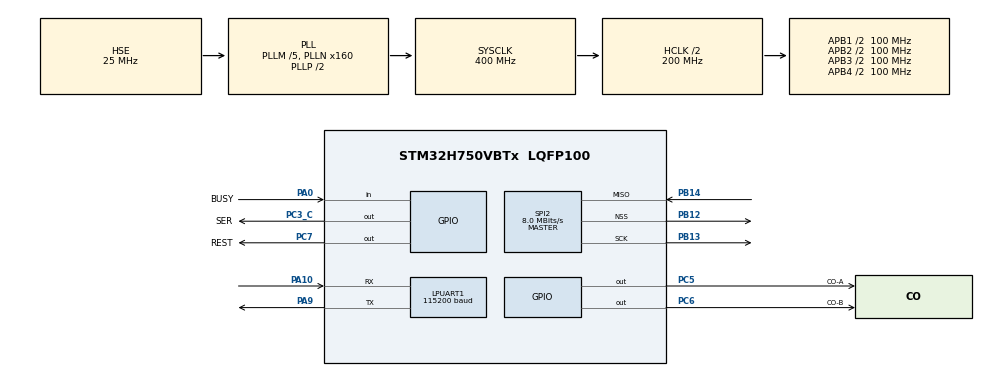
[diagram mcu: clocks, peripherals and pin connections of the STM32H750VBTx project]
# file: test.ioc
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LPUART1.BaudRate=115200
Mcu.Family=STM32H7
Mcu.Name=STM32H750VBTx
Mcu.Package=LQFP100
NVIC.LPUART1_IRQn=true\:3\:3\:true\:false\:true\:true\:true
NVIC.PriorityGroup=NVIC_PRIORITYGROUP_2
PA0.GPIO_Label=BUSY
PA0.GPIO_PuPd=GPIO_PULLUP
PA0.Signal=GPIO_Input
PA10.Mode=Asynchronous
PA10.Signal=LPUART1_RX
PA9.Mode=Asynchronous
PA9.Signal=LPUART1_TX
PB12.Mode=NSS_Signal_Hard_Output
PB12.Signal=SPI2_NSS
PB13.Mode=RX_Only_Simplex_Unidirect_Master
PB13.Signal=SPI2_SCK
PB14.Mode=RX_Only_Simplex_Unidirect_Master
PB14.Signal=SPI2_MISO
PC3_C.GPIO_Label=SER
PC3_C.GPIO_PuPd=GPIO_PULLUP
PC3_C.Signal=GPIO_Output
PC5.GPIO_Label=CO-A
PC5.GPIO_PuPd=GPIO_PULLUP
PC5.Signal=GPIO_Output
PC6.GPIO_Label=CO-B
PC6.GPIO_PuPd=GPIO_PULLUP
PC6.Signal=GPIO_Output
PC7.GPIO_Label=REST
PC7.GPIO_PuPd=GPIO_PULLUP
PC7.Signal=GPIO_Output
PH0-OSC_IN\ (PH0).Mode=HSE-External-Oscillator
PH0-OSC_IN\ (PH0).Signal=RCC_OSC_IN
PH1-OSC_OUT\ (PH1).Mode=HSE-External-Oscillator
PH1-OSC_OUT\ (PH1).Signal=RCC_OSC_OUT
ProjectManager.HeapSize=0x200
ProjectManager.StackSize=0x400
ProjectManager.TargetToolchain=STM32CubeIDE
RCC.ADCFreq_Value=50390625
RCC.APB1Freq_Value=100000000
RCC.APB2Freq_Value=100000000
RCC.APB3Freq_Value=100000000
RCC.APB4Freq_Value=100000000
RCC.CortexFreq_Value=400000000
RCC.D1PPRE=RCC_APB3_DIV2
RCC.D2PPRE1=RCC_APB1_DIV2
RCC.D2PPRE2=RCC_APB2_DIV2
RCC.D3PPRE=RCC_APB4_DIV2
RCC.DIVM1=5
RCC.DIVN1=160
RCC.HCLKFreq_Value=200000000
RCC.HPRE=RCC_HCLK_DIV2
RCC.PLLSourceVirtual=RCC_PLLSOURCE_HSE
RCC.SPI123CLockSelection=RCC_SPI123CLKSOURCE_CLKP
RCC.SYSCLKFreq_VALUE=400000000
RCC.SYSCLKSource=RCC_SYSCLKSOURCE_PLLCLK
RCC.USBFreq_Value=400000000
SPI2.BaudRatePrescaler=SPI_BAUDRATEPRESCALER_8
SPI2.CalculateBaudRate=8.0 MBits/s
SPI2.DataSize=SPI_DATASIZE_16BIT
SPI2.Direction=SPI_DIRECTION_2LINES_RXONLY
SPI2.Mode=SPI_MODE_MASTER
SPI2.NSSPMode=SPI_NSS_PULSE_ENABLE
SPI2.VirtualNSS=VM_NSSHARD
SPI2.VirtualType=VM_MASTER
board=custom

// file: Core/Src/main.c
/* USER CODE BEGIN Header */
/**
  ******************************************************************************
  * @file           : main.c
  * @brief          : Main program body
  ******************************************************************************
  * @attention
  *
  * <h2><center>&copy; Copyright (c) 2021 STMicroelectronics.
  * All rights reserved.</center></h2>
  *
  * This software component is licensed by ST under BSD 3-Clause license,
  * the "License"; You may not use this file except in compliance with the
  * License. You may obtain a copy of the License at:
  *                        opensource.org/licenses/BSD-3-Clause
  *
  ******************************************************************************
  */
/* USER CODE END Header */
#include "main.h"

UART_HandleTypeDef hlpuart1;

SPI_HandleTypeDef hspi2;

void SystemClock_Config(void);
void PeriphCommonClock_Config(void);
static void MX_GPIO_Init(void);
static void MX_LPUART1_UART_Init(void);
static void MX_SPI2_Init(void);

/* USER CODE BEGIN 0 */
void AD7606_StartConvst(void)
{
	HAL_GPIO_WritePin(CO_A_GPIO_Port, CO_A_Pin, GPIO_PIN_RESET); //	CO_A_L;
	HAL_GPIO_WritePin(CO_B_GPIO_Port, CO_B_Pin, GPIO_PIN_RESET); //	CO_B_L;
	HAL_Delay(1);
//	for(int i = 20; i > 0; i--){
//		__NOP();//1000/168 ns = 5.85ns
//	}
	HAL_GPIO_WritePin(CO_A_GPIO_Port, CO_A_Pin, GPIO_PIN_SET); //	CO_A_H;
	HAL_GPIO_WritePin(CO_B_GPIO_Port, CO_B_Pin, GPIO_PIN_SET); //	CO_B_H;
	HAL_Delay(1);
//	for(int i = 20; i > 0; i--){
//		__NOP();//1000/168 ns = 5.85ns
//	}
}

void AD7606_RESET(void)
{
	HAL_GPIO_WritePin(REST_GPIO_Port, REST_Pin, GPIO_PIN_RESET); //REST_L;
	HAL_Delay(1);
//	for(int i = 20; i > 0; i--){
//		__NOP();//1000/168 ns = 5.85ns
//	}
	HAL_GPIO_WritePin(REST_GPIO_Port, REST_Pin, GPIO_PIN_SET); //REST_H;
	HAL_Delay(1);
//	for(int i = 20; i > 0; i--){
//		__NOP();//1000/168 ns = 5.85ns
//	}
	HAL_GPIO_WritePin(REST_GPIO_Port, REST_Pin, GPIO_PIN_RESET); //REST_L;
}

void AD7606_Init(void)
{
//	MX_SPI2_Init();
//	GPIO_AD7606_Configuration();
	HAL_GPIO_WritePin(CO_A_GPIO_Port, CO_A_Pin, GPIO_PIN_SET); //	CO_A_H;
	HAL_GPIO_WritePin(CO_B_GPIO_Port, CO_B_Pin, GPIO_PIN_SET); //	CO_B_H;
	HAL_Delay(1);
	HAL_GPIO_WritePin(SER_GPIO_Port, SER_Pin, GPIO_PIN_SET); //SER_H;

	AD7606_RESET();
	HAL_Delay(1);
	AD7606_StartConvst();
}

void AD7606_ReadData(int * DB_data)
{
	HAL_SPI_Receive(&hspi2, (uint8_t *)DB_data, 8, 1000);
}

/* USER CODE END 0 */

int main(void)
{
  /* USER CODE BEGIN 1 */
// uint8_t UART_BUF[12] = "you press A!";
 uint8_t dis_buf[40];
 int16_t DB_data[8] = {0};
 int16_t i;
 int16_t temp;
  /* USER CODE END 1 */

  /* MCU Configuration--------------------------------------------------------*/

  /* Reset of all peripherals, Initializes the Flash interface and the Systick. */
  HAL_Init();

  /* Configure the system clock */
  SystemClock_Config();

/* Configure the peripherals common clocks */
  PeriphCommonClock_Config();

  /* Initialize all configured peripherals */
  MX_GPIO_Init();
  MX_LPUART1_UART_Init();
  MX_SPI2_Init();
  /* USER CODE BEGIN 2 */
  AD7606_Init();
  /* USER CODE END 2 */

  /* Infinite loop */
  while (1)
  {

    /* USER CODE BEGIN 3 */
//	  HAL_GPIO_WritePin(LED_B_GPIO_Port, LED_B_Pin, GPIO_PIN_SET); // �øߣ�������
//	  HAL_Delay(500); // ��ʱ 500ms
//	  HAL_GPIO_WritePin(LED_B_GPIO_Port, LED_B_Pin, GPIO_PIN_RESET);// �õͣ�������
	  HAL_Delay(500); // ��ʱ 500ms

//	  HAL_UART_Transmit(&hlpuart1,UART_BUF,12,0xffff);
	  AD7606_StartConvst();
	  while((HAL_GPIO_ReadPin(GPIOA,BUSY_Pin) == GPIO_PIN_SET))	//
		  HAL_Delay(10);
	  AD7606_ReadData(DB_data);

//	  for(i=0;i<8;i++)
//	  {
//		sprintf((char*)dis_buf,"CH%1d:%8.1f mv  0x%04x %6d\r\n", i+1, (float)(DB_data[i]*10000.0/32768), (uint16_t)(DB_data[i]^0x8000), (uint16_t)(DB_data[i]^0x8000));
//		//printf("%s",dis_buf);
//	  }
//	  HAL_UART_Transmit(&hlpuart1,DB_data,16,0xffff);

//	  HAL_UART_Transmit(&hlpuart1,DB_data,16,0xffff);
//	  DB_data[i];
//	  temp =(uint16_t)(DB_data[3]^0x8000);
//	  HAL_UART_Transmit(&hlpuart1,temp >> 8,1,0xffff); //& 0xff
//	  HAL_UART_Transmit(&hlpuart1,temp & 0xff,1,0xffff);
//	  HAL_Delay(100);
	  HAL_UART_Transmit(&hlpuart1,'C',1,0xffff);
//	  printf("hell0 \r");
  }
  /* USER CODE END 3 */
}

void SystemClock_Config(void)
{
  RCC_OscInitTypeDef RCC_OscInitStruct = {0};
  RCC_ClkInitTypeDef RCC_ClkInitStruct = {0};

  /** Supply configuration update enable
  */
  HAL_PWREx_ConfigSupply(PWR_LDO_SUPPLY);
  /** Configure the main internal regulator output voltage
  */
  __HAL_PWR_VOLTAGESCALING_CONFIG(PWR_REGULATOR_VOLTAGE_SCALE1);

  while(!__HAL_PWR_GET_FLAG(PWR_FLAG_VOSRDY)) {}
  /** Initializes the RCC Oscillators according to the specified parameters
  * in the RCC_OscInitTypeDef structure.
  */
  RCC_OscInitStruct.OscillatorType = RCC_OSCILLATORTYPE_HSI|RCC_OSCILLATORTYPE_HSE;
  RCC_OscInitStruct.HSEState = RCC_HSE_ON;
  RCC_OscInitStruct.HSIState = RCC_HSI_DIV1;
  RCC_OscInitStruct.HSICalibrationValue = RCC_HSICALIBRATION_DEFAULT;
  RCC_OscInitStruct.PLL.PLLState = RCC_PLL_ON;
  RCC_OscInitStruct.PLL.PLLSource = RCC_PLLSOURCE_HSE;
  RCC_OscInitStruct.PLL.PLLM = 5;
  RCC_OscInitStruct.PLL.PLLN = 160;
  RCC_OscInitStruct.PLL.PLLP = 2;
  RCC_OscInitStruct.PLL.PLLQ = 2;
  RCC_OscInitStruct.PLL.PLLR = 2;
  RCC_OscInitStruct.PLL.PLLRGE = RCC_PLL1VCIRANGE_2;
  RCC_OscInitStruct.PLL.PLLVCOSEL = RCC_PLL1VCOWIDE;
  RCC_OscInitStruct.PLL.PLLFRACN = 0;
  if (HAL_RCC_OscConfig(&RCC_OscInitStruct) != HAL_OK)
  {
    Error_Handler();
  }
  /** Initializes the CPU, AHB and APB buses clocks
  */
  RCC_ClkInitStruct.ClockType = RCC_CLOCKTYPE_HCLK|RCC_CLOCKTYPE_SYSCLK
                              |RCC_CLOCKTYPE_PCLK1|RCC_CLOCKTYPE_PCLK2
                              |RCC_CLOCKTYPE_D3PCLK1|RCC_CLOCKTYPE_D1PCLK1;
  RCC_ClkInitStruct.SYSCLKSource = RCC_SYSCLKSOURCE_PLLCLK;
  RCC_ClkInitStruct.SYSCLKDivider = RCC_SYSCLK_DIV1;
  RCC_ClkInitStruct.AHBCLKDivider = RCC_HCLK_DIV2;
  RCC_ClkInitStruct.APB3CLKDivider = RCC_APB3_DIV2;
  RCC_ClkInitStruct.APB1CLKDivider = RCC_APB1_DIV2;
  RCC_ClkInitStruct.APB2CLKDivider = RCC_APB2_DIV2;
  RCC_ClkInitStruct.APB4CLKDivider = RCC_APB4_DIV2;

  if (HAL_RCC_ClockConfig(&RCC_ClkInitStruct, FLASH_LATENCY_2) != HAL_OK)
  {
    Error_Handler();
  }
}

void PeriphCommonClock_Config(void)
{
  RCC_PeriphCLKInitTypeDef PeriphClkInitStruct = {0};

  /** Initializes the peripherals clock
  */
  PeriphClkInitStruct.PeriphClockSelection = RCC_PERIPHCLK_CKPER;
  PeriphClkInitStruct.CkperClockSelection = RCC_CLKPSOURCE_HSI;
  if (HAL_RCCEx_PeriphCLKConfig(&PeriphClkInitStruct) != HAL_OK)
  {
    Error_Handler();
  }
}

static void MX_LPUART1_UART_Init(void)
{

  hlpuart1.Instance = LPUART1;
  hlpuart1.Init.BaudRate = 115200;
  hlpuart1.Init.WordLength = UART_WORDLENGTH_8B;
  hlpuart1.Init.StopBits = UART_STOPBITS_1;
  hlpuart1.Init.Parity = UART_PARITY_NONE;
  hlpuart1.Init.Mode = UART_MODE_TX_RX;
  hlpuart1.Init.HwFlowCtl = UART_HWCONTROL_NONE;
  hlpuart1.Init.OneBitSampling = UART_ONE_BIT_SAMPLE_DISABLE;
  hlpuart1.Init.ClockPrescaler = UART_PRESCALER_DIV1;
  hlpuart1.AdvancedInit.AdvFeatureInit = UART_ADVFEATURE_NO_INIT;
  hlpuart1.FifoMode = UART_FIFOMODE_DISABLE;
  if (HAL_UART_Init(&hlpuart1) != HAL_OK)
  {
    Error_Handler();
  }
  if (HAL_UARTEx_SetTxFifoThreshold(&hlpuart1, UART_TXFIFO_THRESHOLD_1_8) != HAL_OK)
  {
    Error_Handler();
  }
  if (HAL_UARTEx_SetRxFifoThreshold(&hlpuart1, UART_RXFIFO_THRESHOLD_1_8) != HAL_OK)
  {
    Error_Handler();
  }
  if (HAL_UARTEx_DisableFifoMode(&hlpuart1) != HAL_OK)
  {
    Error_Handler();
  }

}

static void MX_SPI2_Init(void)
{

  /* SPI2 parameter configuration*/
  hspi2.Instance = SPI2;
  hspi2.Init.Mode = SPI_MODE_MASTER;
  hspi2.Init.Direction = SPI_DIRECTION_2LINES_RXONLY;
  hspi2.Init.DataSize = SPI_DATASIZE_16BIT;
  hspi2.Init.CLKPolarity = SPI_POLARITY_LOW;
  hspi2.Init.CLKPhase = SPI_PHASE_1EDGE;
  hspi2.Init.NSS = SPI_NSS_HARD_OUTPUT;
  hspi2.Init.BaudRatePrescaler = SPI_BAUDRATEPRESCALER_8;
  hspi2.Init.FirstBit = SPI_FIRSTBIT_MSB;
  hspi2.Init.TIMode = SPI_TIMODE_DISABLE;
  hspi2.Init.CRCCalculation = SPI_CRCCALCULATION_DISABLE;
  hspi2.Init.CRCPolynomial = 0x0;
  hspi2.Init.NSSPMode = SPI_NSS_PULSE_ENABLE;
  hspi2.Init.NSSPolarity = SPI_NSS_POLARITY_LOW;
  hspi2.Init.FifoThreshold = SPI_FIFO_THRESHOLD_01DATA;
  hspi2.Init.TxCRCInitializationPattern = SPI_CRC_INITIALIZATION_ALL_ZERO_PATTERN;
  hspi2.Init.RxCRCInitializationPattern = SPI_CRC_INITIALIZATION_ALL_ZERO_PATTERN;
  hspi2.Init.MasterSSIdleness = SPI_MASTER_SS_IDLENESS_00CYCLE;
  hspi2.Init.MasterInterDataIdleness = SPI_MASTER_INTERDATA_IDLENESS_00CYCLE;
  hspi2.Init.MasterReceiverAutoSusp = SPI_MASTER_RX_AUTOSUSP_DISABLE;
  hspi2.Init.MasterKeepIOState = SPI_MASTER_KEEP_IO_STATE_DISABLE;
  hspi2.Init.IOSwap = SPI_IO_SWAP_DISABLE;
  if (HAL_SPI_Init(&hspi2) != HAL_OK)
  {
    Error_Handler();
  }

}

static void MX_GPIO_Init(void)
{
  GPIO_InitTypeDef GPIO_InitStruct = {0};

  /* GPIO Ports Clock Enable */
  __HAL_RCC_GPIOH_CLK_ENABLE();
  __HAL_RCC_GPIOC_CLK_ENABLE();
  __HAL_RCC_GPIOA_CLK_ENABLE();
  __HAL_RCC_GPIOB_CLK_ENABLE();

  /*Configure GPIO pin Output Level */
  HAL_GPIO_WritePin(GPIOC, SER_Pin|CO_A_Pin|CO_B_Pin|REST_Pin, GPIO_PIN_RESET);

  /*Configure GPIO pins : SER_Pin CO_A_Pin CO_B_Pin REST_Pin */
  GPIO_InitStruct.Pin = SER_Pin|CO_A_Pin|CO_B_Pin|REST_Pin;
  GPIO_InitStruct.Mode = GPIO_MODE_OUTPUT_PP;
  GPIO_InitStruct.Pull = GPIO_PULLUP;
  GPIO_InitStruct.Speed = GPIO_SPEED_FREQ_LOW;
  HAL_GPIO_Init(GPIOC, &GPIO_InitStruct);

  /*Configure GPIO pin : BUSY_Pin */
  GPIO_InitStruct.Pin = BUSY_Pin;
  GPIO_InitStruct.Mode = GPIO_MODE_INPUT;
  GPIO_InitStruct.Pull = GPIO_PULLUP;
  HAL_GPIO_Init(BUSY_GPIO_Port, &GPIO_InitStruct);

}

void Error_Handler(void)
{
  __disable_irq();
  while (1)
  {
  }
}

/************************ (C) COPYRIGHT STMicroelectronics *****END OF FILE****/
